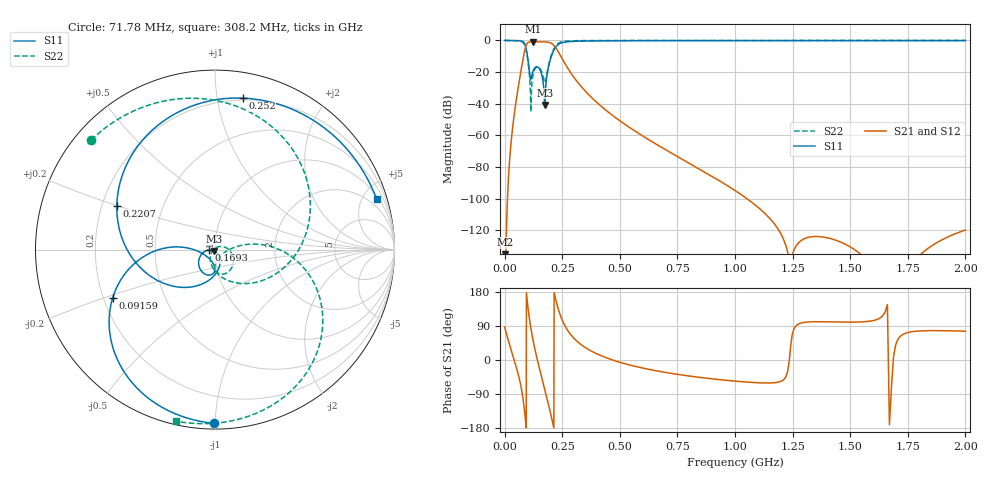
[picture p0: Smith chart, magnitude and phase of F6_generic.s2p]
! Created with skrf 2.2.0 (http://scikit-rf.org).
# MHz S RI R 50.0
! Port[1] = P1
! Port[2] = P2
!freq ReS11 ImS11 ReS21 ImS21 ReS12 ImS12 ReS22 ImS22
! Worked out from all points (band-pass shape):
!   2001 points, 50 kHz to 2 GHz, reference 50 ohm
!   highest |S21| = -0.82 dB at 123.9 MHz (marker M1); lowest = -199.0 dB at 1.273 MHz (marker M2)
!   |S21| within 3 dB of the highest: 91.82 MHz to 218.1 MHz (126.3 MHz wide, 81.5 % of centre)
!   lowest |S11| = -40.8 dB at 173.9 MHz (marker M3), VSWR 1.02, Z = 49.4 - j0.71 ohm
!   |S11| at or under -10 dB: 99.37 MHz to 203.1 MHz (103.7 MHz wide, 68.6 % of centre)
!   |S22| runs from -45.0 to 0.0 dB; largest |S21 - S12| = 1e-15
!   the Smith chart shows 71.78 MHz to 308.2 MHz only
!   S11 on the Smith chart (normalised r, x): 71.78 MHz: 0.03, -0.99; 91.59 MHz: 0.24, -0.21; 169.3 MHz: 0.93, -0.00; 220.7 MHz: 0.26, +0.20; 252 MHz: 0.18, +1.18; 308.2 MHz: 1.25, +6.32
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0.05  1 -0.000848  5.76e-19 1.05e-17  5.77e-19 1.05e-17  1 -0.00302
0.2934364  1 -0.00498  4.7e-15 7.3e-14  4.7e-15 7.3e-14  0.9998 -0.0177
1.273208  0.9997 -0.0216  1.15e-11 1.12e-10  1.15e-11 1.12e-10  0.997 -0.0767
1.712999  0.9995 -0.0291  5.89e-11 4.92e-10  5.89e-11 4.92e-10  0.9946 -0.1031
10  0.9853 -0.1694  1.42e-06 3.03e-06  1.42e-06 3.03e-06  0.826 -0.562
20.01866  0.9406 -0.3377  7.8e-05 7.39e-05  7.8e-05 7.39e-05  0.3929 -0.916
36.81742  0.7892 -0.6103  0.00233 0.000383  0.00233 0.000383  -0.4329 -0.8874
58.68728  0.3967 -0.9062  0.0252 -0.0187  0.0252 -0.0187  -0.959 -0.0516
71.77665  -0.00698 -0.9676  0.0367 -0.1117  0.0367 -0.1117  -0.69 0.6103
91.58631  -0.5704 -0.2698  -0.6129 -0.1727  -0.6129 -0.1727  0.5306 0.2185
112.6084  -0.0429 -0.0407  0.0101 0.9047  0.0101 0.9047  -0.0142 -0.00738
123.8766  -0.00105 -0.1096  0.5728 0.7075  0.5728 0.7075  0.0848 -0.00839
144.4505  -0.0705 -0.1257  0.9045 -0.0885  0.9045 -0.0885  0.0521 -0.1356
169.3363  -0.0344 -0.00239  0.3766 -0.8272  0.3766 -0.8272  0.00893 -0.0627
173.8822  -0.00557 -0.00718  0.2144 -0.8809  0.2144 -0.8809  0.025 -0.0406
220.6996  -0.5472 0.2444  -0.5811 0.1797  -0.5811 0.1797  0.5899 -0.2937
251.9575  0.1537 0.8441  -0.0541 0.2423  -0.0541 0.2423  0.3409 -0.8524
308.153  0.9 0.281  0.035 0.0462  0.035 0.0462  -0.2181 -0.9561
342.5997  0.9554 -0.0703  0.0234 0.017  0.0234 0.017  -0.4066 -0.9001
523.443  0.3989 -0.8976  0.00217 -0.000385  0.00217 -0.000385  -0.796 -0.598
838.8051  -0.48 -0.865  6.49e-05 -6.56e-05  6.49e-05 -6.56e-05  -0.946 -0.3158
2000  -0.9239 0.3608  2.48e-07 9.96e-07  2.48e-07 9.96e-07  -0.9951 0.074
